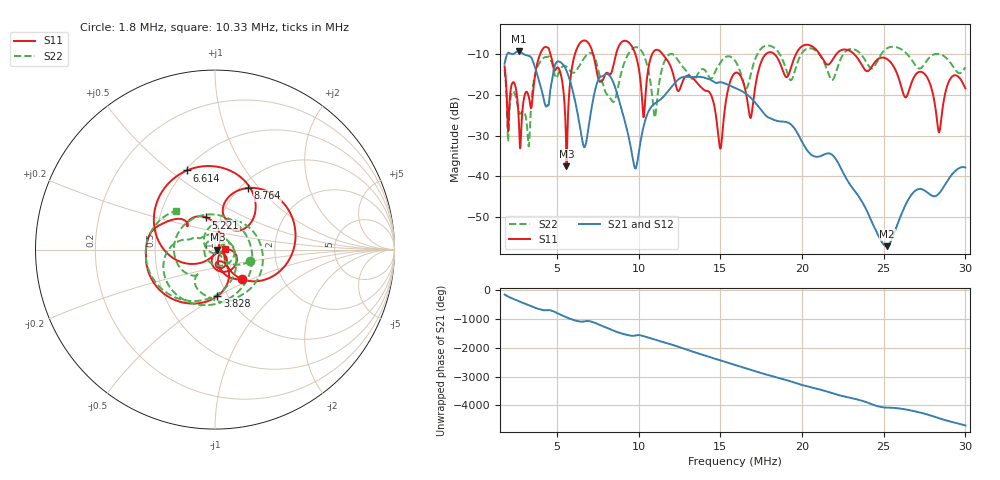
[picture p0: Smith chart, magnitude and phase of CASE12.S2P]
!Agilent Technologies,E5061B,MY49101568,A.02.00
!Date: Wed Mar 01 15:47:41 2023
!Data & Calibration Information:
!Freq	S11:SOLT2(OFF)	S21:SOLT2(OFF)	S12:SOLT2(OFF)	S22:SOLT2(OFF)
# Hz S dB R 50
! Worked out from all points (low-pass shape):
!   1155 points, 1.8 MHz to 30 MHz, reference 50 ohm
!   highest |S21| = -9.25 dB at 2.655 MHz (marker M1); lowest = -57.3 dB at 25.21 MHz (marker M2)
!   |S21| within 3 dB of the highest: 1.803 MHz to 3.579 MHz (1.776 MHz wide, 66 % of centre); 4.926 MHz to 5.312 MHz (386.7 kHz wide, 7.55 % of centre)
!   lowest |S11| = -37.6 dB at 5.588 MHz (marker M3), VSWR 1.03, Z = 51.3 - j0.0961 ohm
!   |S11| at or under -10 dB: start of sweep to 3.968 MHz; 11.48 MHz to 17.77 MHz (6.289 MHz wide, 43 % of centre); 23.21 MHz to end of sweep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
!   |S22| runs from -32.7 to -7.8 dB; largest |S21 - S12| = 0.0035
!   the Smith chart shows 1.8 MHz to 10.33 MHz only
!   S11 on the Smith chart (normalised r, x): 1.8 MHz: 1.27, -0.44; 3.828 MHz: 0.90, -0.50; 5.221 MHz: 0.85, +0.32; 6.614 MHz: 0.51, +0.58; 8.764 MHz: 1.08, +0.88; 10.33 MHz: 1.12, +0.01
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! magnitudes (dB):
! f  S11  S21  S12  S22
! 1.8 MHz  -13.0  -12.3  -12.3  -13.8
! 2.655 MHz  -25.2  -9.2  -9.2  -23.8
! 3.266 MHz  -20.3  -10.4  -10.4  -32.7
! 3.828 MHz  -11.7  -15.4  -15.5  -12.9
! 5.221 MHz  -14.6  -11.9  -11.9  -13.6
! 5.588 MHz  -37.6  -14.0  -14.0  -13.0
! 6.516 MHz  -6.8  -30.4  -30.3  -11.9
! 6.614 MHz  -6.6  -32.3  -32.2  -11.2
! 7.616 MHz  -16.7  -15.7  -15.7  -15.3
! 8.764 MHz  -8.2  -20.8  -20.7  -17.6
! 9.766 MHz  -9.5  -38.0  -38.0  -8.3
! 10.33 MHz  -25.2  -27.4  -27.5  -10.3
! 11.21 MHz  -8.9  -21.5  -21.5  -18.5
! 15 MHz  -33.2  -16.8  -16.9  -12.1
! 15.9 MHz  -14.6  -18.3  -18.3  -11.5
! 16.85 MHz  -25.7  -20.6  -20.7  -15.1
! 17.76 MHz  -10.1  -25.0  -25.1  -7.9
! 20.62 MHz  -8.0  -34.9  -34.8  -8.6
! 25.21 MHz  -11.2  -57.3  -57.2  -8.5
! 25.31 MHz  -11.5  -57.0  -56.9  -8.3
! 28.39 MHz  -29.2  -44.3  -44.2  -9.9
! 30 MHz  -18.4  -37.9  -37.8  -13.2
